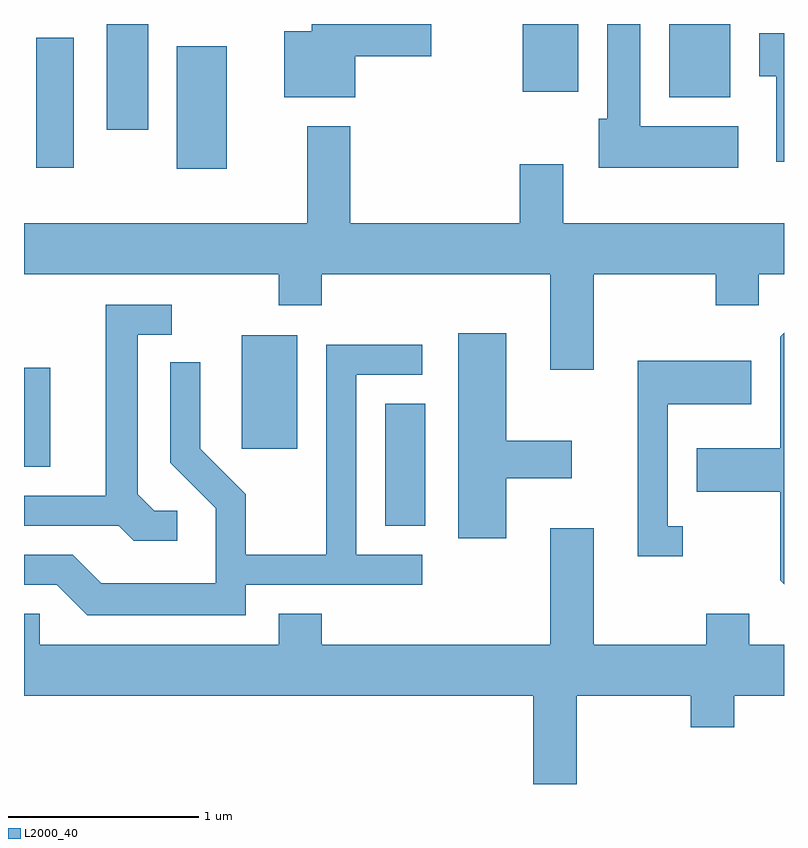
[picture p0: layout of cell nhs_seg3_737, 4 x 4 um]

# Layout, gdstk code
import gdstk
lib = gdstk.Library(unit=1e-6, precision=1e-09)
def R(c, l, rs):  # rectangles x0, y0, x1, y1
    for r in rs: c.add(gdstk.rectangle(r[:2], r[2:], *l))
def P(c, l, *ps):  # polygons
    for p in ps: c.add(gdstk.Polygon(p, *l))
L2000_40 = (2000, 40)

nhs_seg3_737 = lib.new_cell('nhs_seg3_737')
R(nhs_seg3_737, L2000_40, [(207.511,1231.251,207.724,1231.894), (205.611,1231.561,205.749,1232.084), (206.756,1231.656,207.049,1232.254), (206.416,1233.131,206.679,1233.774), (205.676,1233.136,205.874,1233.819), (206.046,1233.336,206.264,1233.892), (209.006,1233.506,209.329,1233.892), (208.236,1233.536,208.529,1233.892)])
P(nhs_seg3_737, L2000_40, [(207.354,1233.721),(207.754,1233.721),(207.754,1233.892),(207.126,1233.892),(207.126,1233.854),(206.981,1233.854),(206.981,1233.506),(207.354,1233.506)],
  [(209.369,1233.354),(208.854,1233.354),(208.854,1233.892),(208.681,1233.892),(208.681,1233.394),(208.636,1233.394),(208.636,1233.136),(209.369,1233.136)],
  [(209.611,1233.844),(209.481,1233.844),(209.481,1233.616),(209.571,1233.616),(209.571,1233.166),(209.611,1233.166)],
  [(208.609,1232.576),(209.251,1232.576),(209.251,1232.411),(209.479,1232.411),(209.479,1232.576),(209.611,1232.576),(209.611,1232.844),(208.449,1232.844),(208.449,1233.154),(208.221,1233.154),(208.221,1232.844),(207.329,1232.844),(207.329,1233.354),(207.101,1233.354),(207.101,1232.844),(205.611,1232.844),(205.611,1232.576),(206.951,1232.576),(206.951,1232.411),(207.179,1232.411),(207.179,1232.576),(208.381,1232.576),(208.381,1232.071),(208.609,1232.071)],
  [(206.418,1231.329),(206.297,1231.329),(206.209,1231.417),(206.209,1232.256),(206.388,1232.256),(206.388,1232.414),(206.041,1232.414),(206.041,1231.409),(205.611,1231.409),(205.611,1231.251),(206.109,1231.251),(206.189,1231.171),(206.418,1231.171)],
  [(209.611,1232.267),(209.591,1232.247),(209.591,1231.659),(209.151,1231.659),(209.151,1231.431),(209.591,1231.431),(209.591,1230.964),(209.611,1230.944)],
  [(208.149,1231.501),(208.494,1231.501),(208.494,1231.699),(208.149,1231.699),(208.149,1232.264),(207.896,1232.264),(207.896,1231.186),(208.149,1231.186)],
  [(206.779,1230.941),(207.708,1230.941),(207.708,1231.099),(207.359,1231.099),(207.359,1232.046),(207.708,1232.046),(207.708,1232.204),(207.201,1232.204),(207.201,1231.099),(206.779,1231.099),(206.779,1231.417),(206.539,1231.657),(206.539,1232.113),(206.381,1232.113),(206.381,1231.584),(206.621,1231.344),(206.621,1230.949),(206.017,1230.949),(205.867,1231.099),(205.611,1231.099),(205.611,1230.941),(205.784,1230.941),(205.944,1230.781),(206.779,1230.781)],
  [(209.078,1231.249),(208.999,1231.249),(208.999,1231.891),(209.439,1231.891),(209.439,1232.119),(208.841,1232.119),(208.841,1231.091),(209.078,1231.091)],
  [(208.519,1230.356),(209.121,1230.356),(209.121,1230.191),(209.349,1230.191),(209.349,1230.356),(209.611,1230.356),(209.611,1230.624),(209.429,1230.624),(209.429,1230.789),(209.201,1230.789),(209.201,1230.624),(208.609,1230.624),(208.609,1231.239),(208.381,1231.239),(208.381,1230.624),(207.179,1230.624),(207.179,1230.789),(206.951,1230.789),(206.951,1230.624),(205.694,1230.624),(205.694,1230.789),(205.611,1230.789),(205.611,1230.356),(208.291,1230.356),(208.291,1229.892),(208.519,1229.892)])

lib.write_gds('nhs_seg3_737.gds')
